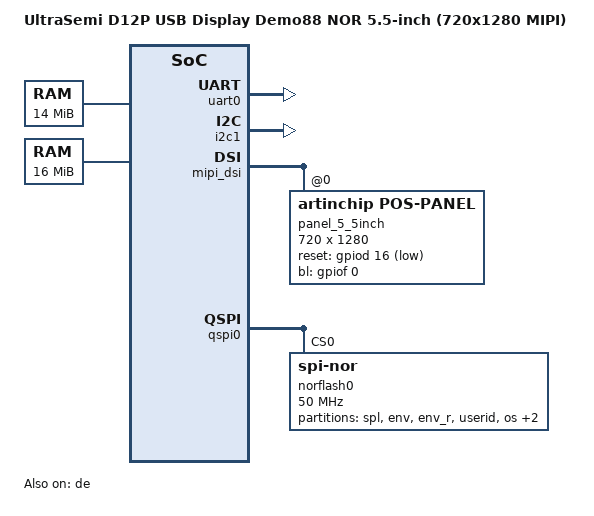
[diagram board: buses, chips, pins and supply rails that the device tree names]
/*
 * SPDX-FileCopyrightText: Copyright (c) 2026 UltraSemi Technology Development Co., Ltd.
 * SPDX-License-Identifier: Apache-2.0
 */

/dts-v1/;

#include <artinchip/d12p.dtsi>
#include <zephyr/dt-bindings/gpio/gpio.h>
#include <zephyr/dt-bindings/mipi_dsi/mipi_dsi.h>
#include "ultrasemi_d12p_usbdisp_demo88_nor_5_5-pinctrl.dtsi"

/ {
	model = "UltraSemi D12P USB Display Demo88 NOR 5.5-inch (720x1280 MIPI)";
	compatible = "ultrasemi,d12p-usbdisp-demo88-nor-5-5";

	chosen {
		zephyr,sram = &psram_app;
		zephyr,console = &uart0;
		zephyr,shell-uart = &uart0;
		zephyr,display = &de;
	};

	psram_app: memory@40200000 {
		compatible = "mmio-sram";
		reg = <0x40200000 DT_SIZE_M(14)>;
	};

	psram0: memory@40000000 {
		compatible = "zephyr,memory-region";
		reg = <0x40000000 DT_SIZE_M(16)>;
		zephyr,memory-region = "PSRAM";
	};

	display_pipeline: display-pipeline {
		compatible = "artinchip,pos-display-pipeline";
		dsi-host = <&mipi_dsi>;
		panel = <&panel_5_5inch>;
		display-engine = <&de>;
		status = "okay";
	};
};

&uart0 {
	/delete-property/ artinchip,bootloader-configured;
	clocks = <&cctl ARTINCHIP_CLK_UART0>;
	resets = <&rctl ARTINCHIP_RESET_UART0>;
	pinctrl-0 = <&uart0_default>;
	pinctrl-names = "default";
	status = "okay";
};

&i2c1 {
	pinctrl-0 = <&i2c1_default>;
	pinctrl-names = "default";
	status = "okay";

	gt911: gt911@5d {
		compatible = "goodix,gt911";
		reg = <0x5d>;
		alt-addr = <0x14>;
		reset-gpios = <&gpiod 0 GPIO_ACTIVE_LOW>;
		irq-gpios = <&gpiod 1 GPIO_ACTIVE_HIGH>;
		screen-width = <720>;
		screen-height = <1280>;
		status = "disabled";
	};
};

&cctl {
	/* Luban: 72 MHz pixel clock * 24-bit RGB888 / 4 DSI lanes. */
	artinchip,display-sclk-clock-frequency = <DT_FREQ_M(432)>;
	artinchip,display-pixclk-clock-frequency = <DT_FREQ_M(72)>;
};

&rgb {
	status = "disabled";
};

&mipi_dsi {
	pinctrl-0 = <&mipi_dsi_default>;
	pinctrl-names = "default";
	artinchip,manual-phy-start;
	phy-clock = <DT_FREQ_M(432)>;
	status = "okay";

	panel_5_5inch: panel@0 {
		compatible = "artinchip,pos-panel";
		reg = <0>;
		width = <720>;
		height = <1280>;
		data-lanes = <4>;
		pixel-format = <MIPI_DSI_PIXFMT_RGB888>;
		reset-gpios = <&gpiod 16 GPIO_ACTIVE_LOW>;
		bl-gpios = <&gpiof 0 GPIO_ACTIVE_HIGH>;
		hfront-porch = <80>;
		hback-porch = <84>;
		hsync-len = <23>;
		vfront-porch = <19>;
		vback-porch = <20>;
		vsync-len = <4>;
		status = "okay";
	};
};

&de {
	framebuffer-address = <0x40000000>;
	framebuffer-size = <0x2a3000>;
	status = "okay";
	artinchip,manual-start;
};

/* The bootloader accesses this flash even when Zephyr's QSPI driver is disabled.
 * Keep the complete AirBurn layout here so overlays and packaging share it.
 */
/ {
	aliases {
		airburn-flash = &norflash0;
	};
};

&qspi0 {
	norflash0: nor-flash@0 {
		compatible = "jedec,spi-nor";
		reg = <0>;
		spi-max-frequency = <DT_FREQ_M(50)>;
		/* jedec,spi-nor capacity is in bits: 128 Mbit = 16 MiB. */
		size = <DT_SIZE_M(128)>;

		partitions {
			compatible = "fixed-partitions";
			#address-cells = <1>;
			#size-cells = <1>;

			spl_partition: partition@0 {
				label = "spl";
				reg = <0x0 0x80000>;
			};

			env_partition: partition@80000 {
				label = "env";
				reg = <0x80000 0x20000>;
			};

			env_r_partition: partition@a0000 {
				label = "env_r";
				reg = <0xa0000 0x20000>;
			};

			userid_partition: partition@c0000 {
				label = "userid";
				reg = <0xc0000 0x40000>;
			};

			os_partition: partition@100000 {
				label = "os";
				reg = <0x100000 0x300000>;
			};

			rodata_partition: partition@400000 {
				label = "rodata";
				reg = <0x400000 0xa00000>;
			};

			storage_partition: partition@e00000 {
				label = "data";
				reg = <0xe00000 0x200000>;
			};
		};
	};
};

&cctl {
	artinchip,qspi-clock-frequency = <198000000>;
};
